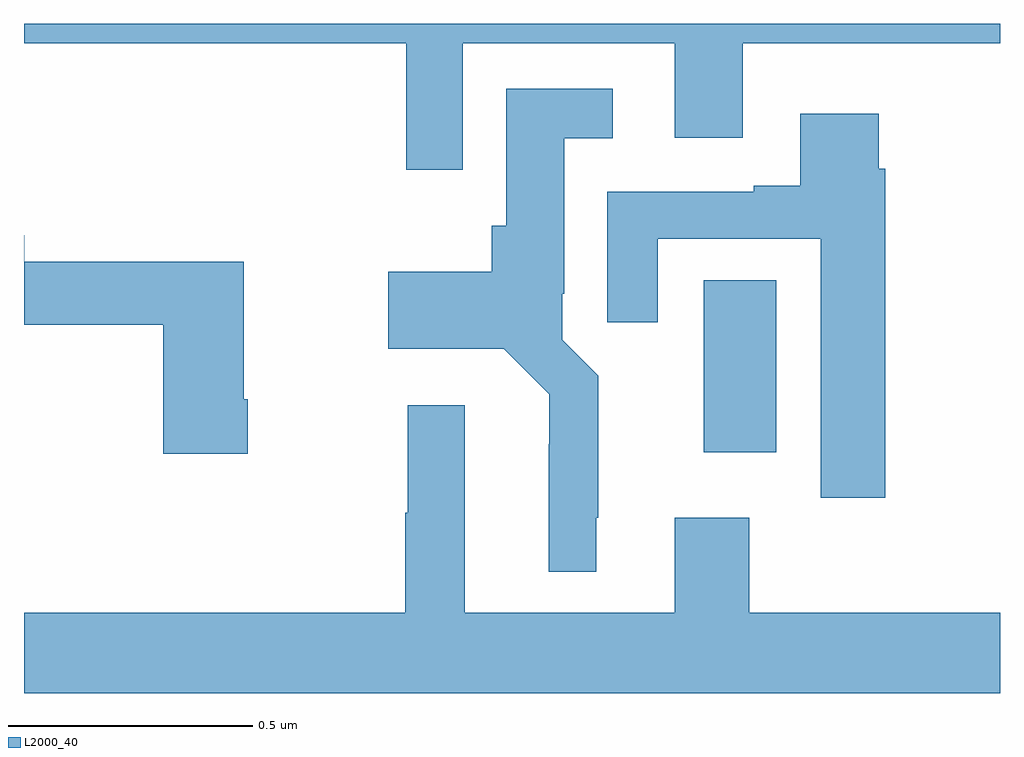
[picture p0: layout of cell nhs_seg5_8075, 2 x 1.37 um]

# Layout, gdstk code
import gdstk
lib = gdstk.Library(unit=1e-6, precision=1e-09)
def R(c, l, rs):  # rectangles x0, y0, x1, y1
    for r in rs: c.add(gdstk.rectangle(r[:2], r[2:], *l))
def P(c, l, *ps):  # polygons
    for p in ps: c.add(gdstk.Polygon(p, *l))
L2000_40 = (2000, 40)

nhs_seg5_8075 = lib.new_cell('nhs_seg5_8075')
R(nhs_seg5_8075, L2000_40, [(218.393,855.921,218.542,856.274)])
P(nhs_seg5_8075, L2000_40, [(217.899,856.76),(218.333,856.76),(218.333,856.566),(218.473,856.566),(218.473,856.76),(219,856.76),(219,856.799),(217,856.799),(217,856.76),(217.783,856.76),(217.783,856.5),(217.899,856.5)],
  [(218.173,855.787),(218.177,855.787),(218.177,856.078),(218.103,856.152),(218.103,856.246),(218.107,856.246),(218.107,856.565),(218.206,856.565),(218.206,856.666),(217.988,856.666),(217.988,856.386),(217.958,856.386),(217.958,856.291),(217.746,856.291),(217.746,856.133),(217.983,856.133),(218.076,856.04),(218.076,855.938),(218.075,855.938),(218.075,855.677),(218.173,855.677)],
  [(218.765,856.502),(218.752,856.502),(218.752,856.615),(218.591,856.615),(218.591,856.468),(218.495,856.468),(218.495,856.455),(218.195,856.455),(218.195,856.188),(218.299,856.188),(218.299,856.359),(218.633,856.359),(218.633,855.828),(218.765,855.828)],
  [(217.458,856.03),(217.45,856.03),(217.45,856.312),(217.001,856.312),(217.001,856.366),(217,856.366),(217,856.183),(217.285,856.183),(217.285,855.918),(217.458,855.918)],
  [(219,855.592),(218.486,855.592),(218.486,855.787),(218.333,855.787),(218.333,855.592),(217.903,855.592),(217.903,856.018),(217.786,856.018),(217.786,855.797),(217.781,855.797),(217.781,855.592),(217,855.592),(217,855.428),(219,855.428)])

lib.write_gds('nhs_seg5_8075.gds')
